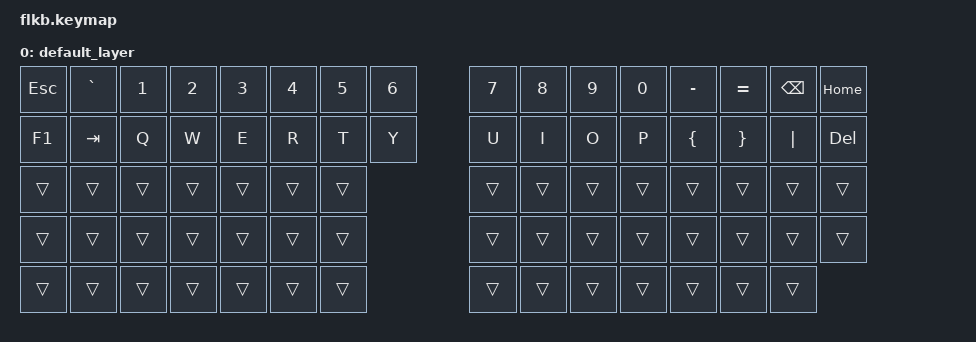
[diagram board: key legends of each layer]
/*
*
* Copyright (c) 2023 Deemen17
* SPDX-License-Identifier: MIT
*
*/

#include <behaviors.dtsi>
#include <dt-bindings/zmk/keys.h>

/ {
    behaviors {
        EscTilde: EscTilde {
            compatible = "zmk,behavior-mod-morph";
            label = "ESCTILDE";
            bindings = <&kp ESC>, <&kp TILDE>;

            #binding-cells = <0>;
            mods = <(MOD_LSFT|MOD_RSFT)>;
        };
    };

    keymap {
        compatible = "zmk,keymap";

       default_layer {
            bindings = <
            &kp ESC &kp GRAVE &kp N1 &kp N2 &kp N3 &kp N4 &kp N5 &kp N6         &kp N7 &kp N8 &kp N9 &kp N0 &kp MINUS &kp EQUAL &kp BACKSPACE &kp HOME
            &kp F1  &kp TAB   &kp Q  &kp W  &kp E  &kp R  &kp T                 &kp Y  &kp U  &kp I  &kp O  &kp P     &kp LBRC  &kp RBRC      &kp PIPE &kp DELETE
            &trans  &trans &trans &trans &trans &trans &trans                   &trans  &trans  &trans  &trans  &trans  &trans  &trans     &trans
            &trans  &trans &trans &trans &trans &trans &trans                   &trans &trans &trans &trans &trans &trans &trans &trans
            &trans &trans &trans &trans &trans &trans &trans                    &trans &trans &trans &trans &trans &trans &trans 
            >;
        };
    };
};
